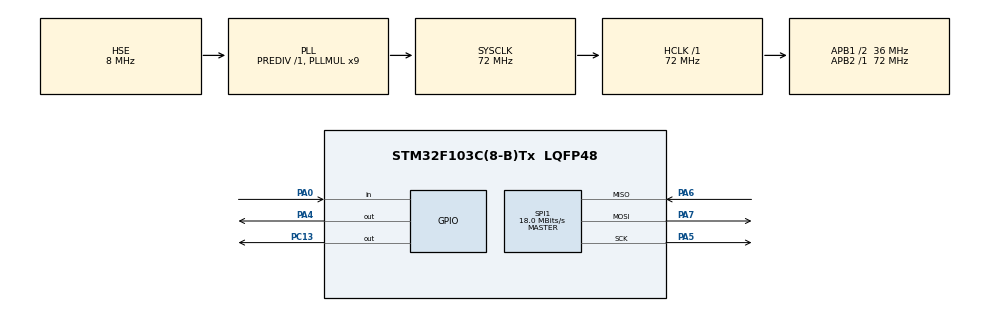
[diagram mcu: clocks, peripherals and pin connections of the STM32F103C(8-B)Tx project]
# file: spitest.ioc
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Mcu.Family=STM32F1
Mcu.Name=STM32F103C(8-B)Tx
Mcu.Package=LQFP48
NVIC.PriorityGroup=NVIC_PRIORITYGROUP_4
PA0-WKUP.GPIO_PuPd=GPIO_PULLUP
PA0-WKUP.Signal=GPIO_Input
PA13.Mode=Serial_Wire
PA13.Signal=SYS_JTMS-SWDIO
PA14.Mode=Serial_Wire
PA14.Signal=SYS_JTCK-SWCLK
PA4.GPIO_ModeDefaultOutputPP=GPIO_MODE_OUTPUT_PP
PA4.GPIO_Speed=GPIO_SPEED_FREQ_HIGH
PA4.PinState=GPIO_PIN_SET
PA4.Signal=GPIO_Output
PA5.Mode=Full_Duplex_Master
PA5.Signal=SPI1_SCK
PA6.Mode=Full_Duplex_Master
PA6.Signal=SPI1_MISO
PA7.Mode=Full_Duplex_Master
PA7.Signal=SPI1_MOSI
PC13-TAMPER-RTC.GPIO_ModeDefaultOutputPP=GPIO_MODE_OUTPUT_OD
PC13-TAMPER-RTC.GPIO_PuPd=GPIO_NOPULL
PC13-TAMPER-RTC.PinState=GPIO_PIN_SET
PC13-TAMPER-RTC.Signal=GPIO_Output
PD0-OSC_IN.Mode=HSE-External-Oscillator
PD0-OSC_IN.Signal=RCC_OSC_IN
PD1-OSC_OUT.Mode=HSE-External-Oscillator
PD1-OSC_OUT.Signal=RCC_OSC_OUT
ProjectManager.HeapSize=0x200
ProjectManager.StackSize=0x400
ProjectManager.TargetToolchain=MDK-ARM V5.32
RCC.AHBFreq_Value=72000000
RCC.APB1CLKDivider=RCC_HCLK_DIV2
RCC.APB1Freq_Value=36000000
RCC.APB1TimFreq_Value=72000000
RCC.APB2Freq_Value=72000000
RCC.APB2TimFreq_Value=72000000
RCC.HCLKFreq_Value=72000000
RCC.PLLMUL=RCC_PLL_MUL9
RCC.PLLSourceVirtual=RCC_PLLSOURCE_HSE
RCC.SYSCLKFreq_VALUE=72000000
RCC.SYSCLKSource=RCC_SYSCLKSOURCE_PLLCLK
RCC.USBFreq_Value=72000000
SPI1.BaudRatePrescaler=SPI_BAUDRATEPRESCALER_4
SPI1.CalculateBaudRate=18.0 MBits/s
SPI1.Direction=SPI_DIRECTION_2LINES
SPI1.Mode=SPI_MODE_MASTER
SPI1.VirtualType=VM_MASTER
board=custom

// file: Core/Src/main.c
/* USER CODE BEGIN Header */
/**
  ******************************************************************************
  * @file           : main.c
  * @brief          : Main program body
  ******************************************************************************
  * @attention
  *
  * Copyright (c) 2026 STMicroelectronics.
  * All rights reserved.
  *
  * This software is licensed under terms that can be found in the LICENSE file
  * in the root directory of this software component.
  * If no LICENSE file comes with this software, it is provided AS-IS.
  *
  ******************************************************************************
  */
/* USER CODE END Header */
#include "main.h"

SPI_HandleTypeDef hspi1;

void SystemClock_Config(void);
static void MX_GPIO_Init(void);
static void MX_SPI1_Init(void);

int main(void)
{

  /* MCU Configuration--------------------------------------------------------*/

  /* Reset of all peripherals, Initializes the Flash interface and the Systick. */
  HAL_Init();

  /* Configure the system clock */
  SystemClock_Config();

  /* Initialize all configured peripherals */
  MX_GPIO_Init();
  MX_SPI1_Init();

  /* Infinite loop */
  /* USER CODE BEGIN WHILE */
  uint8_t pre = 1, cur = 1;             /* pre = 上次电平, cur = 本次电平 */
  uint8_t ledstate = 0;                 /* 0 = 灯灭, 1 = 灯亮 */

  while (1)
  {
    /* 第 1 步:先把上次的电平存下来,再去读新的 */
    pre = cur;

    /* 第 2 步:读 PA0。内部上拉 —— 松开是高电平,按下是低电平 */
    if (HAL_GPIO_ReadPin(GPIOA, GPIO_PIN_0) == GPIO_PIN_SET)
    {
      cur = 1;
    }
    if (HAL_GPIO_ReadPin(GPIOA, GPIO_PIN_0) == GPIO_PIN_RESET)
    {
      cur = 0;
    }

    /* 第 3 步:前后两次电平不一样,说明按键动过 */
    if (pre != cur)
    {
      /* 只处理「按下」这一下:高 -> 低 */
      if (pre == 1 && cur == 0)
      {
        HAL_Delay(20);                  /* 消抖:等 20ms 让抖动过去 */

        /* 20ms 之后还是低电平,才认这是真的按下 */
        if (HAL_GPIO_ReadPin(GPIOA, GPIO_PIN_0) == GPIO_PIN_RESET)
        {
          if (ledstate == 1)
          {
            HAL_GPIO_WritePin(GPIOC, GPIO_PIN_13, GPIO_PIN_SET);    /* 高电平,灭 */
            ledstate = 0;
          }
          else
          {
            HAL_GPIO_WritePin(GPIOC, GPIO_PIN_13, GPIO_PIN_RESET);  /* 低电平,亮 */
            ledstate = 1;
          }
        }
      }
    }

    /* USER CODE END WHILE */

  }
}

void SystemClock_Config(void)
{
  RCC_OscInitTypeDef RCC_OscInitStruct = {0};
  RCC_ClkInitTypeDef RCC_ClkInitStruct = {0};

  /** Initializes the RCC Oscillators according to the specified parameters
  * in the RCC_OscInitTypeDef structure.
  */
  RCC_OscInitStruct.OscillatorType = RCC_OSCILLATORTYPE_HSE;
  RCC_OscInitStruct.HSEState = RCC_HSE_ON;
  RCC_OscInitStruct.HSEPredivValue = RCC_HSE_PREDIV_DIV1;
  RCC_OscInitStruct.HSIState = RCC_HSI_ON;
  RCC_OscInitStruct.PLL.PLLState = RCC_PLL_ON;
  RCC_OscInitStruct.PLL.PLLSource = RCC_PLLSOURCE_HSE;
  RCC_OscInitStruct.PLL.PLLMUL = RCC_PLL_MUL9;
  if (HAL_RCC_OscConfig(&RCC_OscInitStruct) != HAL_OK)
  {
    Error_Handler();
  }

  /** Initializes the CPU, AHB and APB buses clocks
  */
  RCC_ClkInitStruct.ClockType = RCC_CLOCKTYPE_HCLK|RCC_CLOCKTYPE_SYSCLK
                              |RCC_CLOCKTYPE_PCLK1|RCC_CLOCKTYPE_PCLK2;
  RCC_ClkInitStruct.SYSCLKSource = RCC_SYSCLKSOURCE_PLLCLK;
  RCC_ClkInitStruct.AHBCLKDivider = RCC_SYSCLK_DIV1;
  RCC_ClkInitStruct.APB1CLKDivider = RCC_HCLK_DIV2;
  RCC_ClkInitStruct.APB2CLKDivider = RCC_HCLK_DIV1;

  if (HAL_RCC_ClockConfig(&RCC_ClkInitStruct, FLASH_LATENCY_2) != HAL_OK)
  {
    Error_Handler();
  }
}

static void MX_SPI1_Init(void)
{

  /* SPI1 parameter configuration*/
  hspi1.Instance = SPI1;
  hspi1.Init.Mode = SPI_MODE_MASTER;
  hspi1.Init.Direction = SPI_DIRECTION_2LINES;
  hspi1.Init.DataSize = SPI_DATASIZE_8BIT;
  hspi1.Init.CLKPolarity = SPI_POLARITY_LOW;
  hspi1.Init.CLKPhase = SPI_PHASE_1EDGE;
  hspi1.Init.NSS = SPI_NSS_SOFT;
  hspi1.Init.BaudRatePrescaler = SPI_BAUDRATEPRESCALER_4;
  hspi1.Init.FirstBit = SPI_FIRSTBIT_MSB;
  hspi1.Init.TIMode = SPI_TIMODE_DISABLE;
  hspi1.Init.CRCCalculation = SPI_CRCCALCULATION_DISABLE;
  hspi1.Init.CRCPolynomial = 10;
  if (HAL_SPI_Init(&hspi1) != HAL_OK)
  {
    Error_Handler();
  }

}

static void MX_GPIO_Init(void)
{
  GPIO_InitTypeDef GPIO_InitStruct = {0};

  /* GPIO Ports Clock Enable */
  __HAL_RCC_GPIOC_CLK_ENABLE();
  __HAL_RCC_GPIOD_CLK_ENABLE();
  __HAL_RCC_GPIOA_CLK_ENABLE();

  /*Configure GPIO pin Output Level */
  HAL_GPIO_WritePin(GPIOC, GPIO_PIN_13, GPIO_PIN_SET);

  /*Configure GPIO pin Output Level */
  HAL_GPIO_WritePin(GPIOA, GPIO_PIN_4, GPIO_PIN_SET);

  /*Configure GPIO pin : PC13 */
  GPIO_InitStruct.Pin = GPIO_PIN_13;
  GPIO_InitStruct.Mode = GPIO_MODE_OUTPUT_OD;
  GPIO_InitStruct.Pull = GPIO_NOPULL;
  GPIO_InitStruct.Speed = GPIO_SPEED_FREQ_LOW;
  HAL_GPIO_Init(GPIOC, &GPIO_InitStruct);

  /*Configure GPIO pin : PA0 */
  GPIO_InitStruct.Pin = GPIO_PIN_0;
  GPIO_InitStruct.Mode = GPIO_MODE_INPUT;
  GPIO_InitStruct.Pull = GPIO_PULLUP;
  HAL_GPIO_Init(GPIOA, &GPIO_InitStruct);

  /*Configure GPIO pin : PA4 */
  GPIO_InitStruct.Pin = GPIO_PIN_4;
  GPIO_InitStruct.Mode = GPIO_MODE_OUTPUT_PP;
  GPIO_InitStruct.Pull = GPIO_NOPULL;
  GPIO_InitStruct.Speed = GPIO_SPEED_FREQ_HIGH;
  HAL_GPIO_Init(GPIOA, &GPIO_InitStruct);

}

void Error_Handler(void)
{
  __disable_irq();
  while (1)
  {
  }
}
